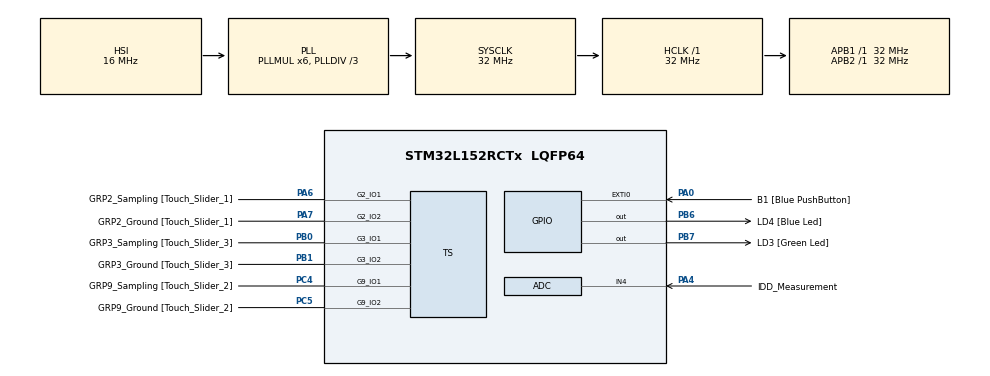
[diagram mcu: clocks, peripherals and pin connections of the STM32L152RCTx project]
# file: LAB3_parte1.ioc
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ADC.Channel=ADC_CHANNEL_4
ADC.Channel-0\#ChannelRegularConversion=ADC_CHANNEL_4
ADC.Channel-IN4=ADC_CHANNEL_4
ADC.ExternalTrigConv=ADC_EXTERNALTRIGCONV_T2_CC3
ADC.ExternalTrigConv-0\#ChannelRegularConversion=ADC_SOFTWARE_START
ADC.ExternalTrigConvEdge=ADC_EXTERNALTRIGCONVEDGE_RISING
ADC.Rank-0\#ChannelRegularConversion=1
ADC.SamplingTime-0\#ChannelRegularConversion=ADC_SAMPLETIME_4CYCLES
Mcu.Family=STM32L1
Mcu.Name=STM32L152RCTx
Mcu.Package=LQFP64
NVIC.PriorityGroup=NVIC_PRIORITYGROUP_0
PA0-WKUP1.GPIO_Label=B1 [Blue PushButton]
PA0-WKUP1.GPIO_ModeDefaultEXTI=GPIO_MODE_EVT_RISING
PA0-WKUP1.GPIO_PuPd=GPIO_NOPULL
PA0-WKUP1.Signal=GPXTI0
PA1.GPIO_Label=SEG0 [GH08172T_SEG0]
PA1.GPIO_Mode=GPIO_MODE_AF_PP
PA1.GPIO_PuPd=GPIO_NOPULL
PA1.GPIO_Speed=GPIO_SPEED_FREQ_LOW
PA1.Signal=LCD_SEG0
PA10.GPIO_Label=COM2 [GH08172T_COM2]
PA10.GPIO_Mode=GPIO_MODE_AF_PP
PA10.GPIO_PuPd=GPIO_NOPULL
PA10.GPIO_Speed=GPIO_SPEED_FREQ_LOW
PA10.Signal=LCD_COM2
PA13.GPIO_Label=SWDIO
PA13.Mode=Serial_Wire
PA13.Signal=SYS_JTMS-SWDIO
PA14.GPIO_Label=SWCLK
PA14.Mode=Serial_Wire
PA14.Signal=SYS_JTCK-SWCLK
PA15.GPIO_Label=SEG12 [GH08172T_SEG12]
PA15.GPIO_Mode=GPIO_MODE_AF_PP
PA15.GPIO_PuPd=GPIO_NOPULL
PA15.GPIO_Speed=GPIO_SPEED_FREQ_LOW
PA15.Signal=LCD_SEG17
PA2.GPIO_Label=SEG1 [GH08172T_SEG1]
PA2.GPIO_Mode=GPIO_MODE_AF_PP
PA2.GPIO_PuPd=GPIO_NOPULL
PA2.GPIO_Speed=GPIO_SPEED_FREQ_LOW
PA2.Signal=LCD_SEG1
PA3.GPIO_Label=SEG2 [GH08172T_SEG2]
PA3.GPIO_Mode=GPIO_MODE_AF_PP
PA3.GPIO_PuPd=GPIO_NOPULL
PA3.GPIO_Speed=GPIO_SPEED_FREQ_LOW
PA3.Signal=LCD_SEG2
PA4.GPIO_Label=IDD_Measurement
PA4.GPIO_Mode=GPIO_MODE_ANALOG
PA4.GPIO_PuPd=GPIO_NOPULL
PA4.Mode=IN4
PA4.Signal=ADC_IN4
PA6.GPIO_Label=GRP2_Sampling [Touch_Slider_1]
PA6.Mode=G2_IO1-Sampling
PA6.Signal=TS_G2_IO1
PA7.GPIO_Label=GRP2_Ground [Touch_Slider_1]
PA7.Mode=G2_IO2-Channel
PA7.Signal=TS_G2_IO2
PA8.GPIO_Label=COM0 [GH08172T_COM0]
PA8.GPIO_Mode=GPIO_MODE_AF_PP
PA8.GPIO_PuPd=GPIO_NOPULL
PA8.GPIO_Speed=GPIO_SPEED_FREQ_LOW
PA8.Signal=LCD_COM0
PA9.GPIO_Label=COM1 [GH08172T_COM1]
PA9.GPIO_Mode=GPIO_MODE_AF_PP
PA9.GPIO_PuPd=GPIO_NOPULL
PA9.GPIO_Speed=GPIO_SPEED_FREQ_LOW
PA9.Signal=LCD_COM1
PB0.GPIO_Label=GRP3_Sampling [Touch_Slider_3]
PB0.Mode=G3_IO1-Sampling
PB0.Signal=TS_G3_IO1
PB1.GPIO_Label=GRP3_Ground [Touch_Slider_3]
PB1.Mode=G3_IO2-Channel
PB1.Signal=TS_G3_IO2
PB10.GPIO_Label=SEG6 [GH08172T_SEG6]
PB10.GPIO_Mode=GPIO_MODE_AF_PP
PB10.GPIO_PuPd=GPIO_NOPULL
PB10.GPIO_Speed=GPIO_SPEED_FREQ_LOW
PB10.Signal=LCD_SEG10
PB11.GPIO_Label=SEG7 [GH08172T_SEG7]
PB11.GPIO_Mode=GPIO_MODE_AF_PP
PB11.GPIO_PuPd=GPIO_NOPULL
PB11.GPIO_Speed=GPIO_SPEED_FREQ_LOW
PB11.Signal=LCD_SEG11
PB12.GPIO_Label=SEG8 [GH08172T_SEG8]
PB12.GPIO_Mode=GPIO_MODE_AF_PP
PB12.GPIO_PuPd=GPIO_NOPULL
PB12.GPIO_Speed=GPIO_SPEED_FREQ_LOW
PB12.Signal=LCD_SEG12
PB13.GPIO_Label=SEG9 [GH08172T_SEG9]
PB13.GPIO_Mode=GPIO_MODE_AF_PP
PB13.GPIO_PuPd=GPIO_NOPULL
PB13.GPIO_Speed=GPIO_SPEED_FREQ_LOW
PB13.Signal=LCD_SEG13
PB14.GPIO_Label=SEG10 [GH08172T_SEG10]
PB14.GPIO_Mode=GPIO_MODE_AF_PP
PB14.GPIO_PuPd=GPIO_NOPULL
PB14.GPIO_Speed=GPIO_SPEED_FREQ_LOW
PB14.Signal=LCD_SEG14
PB15.GPIO_Label=SEG11 [GH08172T_SEG11]
PB15.GPIO_Mode=GPIO_MODE_AF_PP
PB15.GPIO_PuPd=GPIO_NOPULL
PB15.GPIO_Speed=GPIO_SPEED_FREQ_LOW
PB15.Signal=LCD_SEG15
PB3.GPIO_Label=SEG3 [GH08172T_SEG3]
PB3.GPIO_Mode=GPIO_MODE_AF_PP
PB3.GPIO_PuPd=GPIO_NOPULL
PB3.GPIO_Speed=GPIO_SPEED_FREQ_LOW
PB3.Signal=LCD_SEG7
PB4.GPIO_Label=SEG4 [GH08172T_SEG4]
PB4.GPIO_Mode=GPIO_MODE_AF_PP
PB4.GPIO_PuPd=GPIO_NOPULL
PB4.GPIO_Speed=GPIO_SPEED_FREQ_LOW
PB4.Signal=LCD_SEG8
PB5.GPIO_Label=SEG5 [GH08172T_SEG5]
PB5.GPIO_Mode=GPIO_MODE_AF_PP
PB5.GPIO_PuPd=GPIO_NOPULL
PB5.GPIO_Speed=GPIO_SPEED_FREQ_LOW
PB5.Signal=LCD_SEG9
PB6.GPIO_Label=LD4 [Blue Led]
PB6.GPIO_ModeDefaultOutputPP=GPIO_MODE_OUTPUT_PP
PB6.GPIO_PuPd=GPIO_NOPULL
PB6.GPIO_Speed=GPIO_SPEED_FREQ_LOW
PB6.Signal=GPIO_Output
PB7.GPIO_Label=LD3 [Green Led]
PB7.GPIO_ModeDefaultOutputPP=GPIO_MODE_OUTPUT_PP
PB7.GPIO_PuPd=GPIO_NOPULL
PB7.GPIO_Speed=GPIO_SPEED_FREQ_LOW
PB7.Signal=GPIO_Output
PB8.GPIO_Label=SEG13 [GH08172T_SEG13]
PB8.GPIO_Mode=GPIO_MODE_AF_PP
PB8.GPIO_PuPd=GPIO_NOPULL
PB8.GPIO_Speed=GPIO_SPEED_FREQ_LOW
PB8.Signal=LCD_SEG16
PB9.GPIO_Label=COM3 [GH08172T_COM3]
PB9.GPIO_Mode=GPIO_MODE_AF_PP
PB9.GPIO_PuPd=GPIO_NOPULL
PB9.GPIO_Speed=GPIO_SPEED_FREQ_LOW
PB9.Signal=LCD_COM3
PC0.GPIO_Label=SEG14 [GH08172T_SEG14]
PC0.GPIO_Mode=GPIO_MODE_AF_PP
PC0.GPIO_PuPd=GPIO_NOPULL
PC0.GPIO_Speed=GPIO_SPEED_FREQ_LOW
PC0.Signal=LCD_SEG18
PC1.GPIO_Label=SEG15 [GH08172T_SEG15]
PC1.GPIO_Mode=GPIO_MODE_AF_PP
PC1.GPIO_PuPd=GPIO_NOPULL
PC1.GPIO_Speed=GPIO_SPEED_FREQ_LOW
PC1.Signal=LCD_SEG19
PC10.GPIO_Label=SEG22 [GH08172T_SEG22]
PC10.GPIO_Mode=GPIO_MODE_AF_PP
PC10.GPIO_PuPd=GPIO_NOPULL
PC10.GPIO_Speed=GPIO_SPEED_FREQ_LOW
PC10.Signal=LCD_SEG28
PC11.GPIO_Label=SEG23 [GH08172T_SEG23]
PC11.GPIO_Mode=GPIO_MODE_AF_PP
PC11.GPIO_PuPd=GPIO_NOPULL
PC11.GPIO_Speed=GPIO_SPEED_FREQ_LOW
PC11.Signal=LCD_SEG29
PC14-OSC32_IN.GPIO_Label=PC14-OSC32_IN
PC14-OSC32_IN.Mode=LSE-External-Oscillator
PC14-OSC32_IN.Signal=RCC_OSC32_IN
PC15-OSC32_OUT.GPIO_Label=PC15-OSC32_OUT
PC15-OSC32_OUT.Mode=LSE-External-Oscillator
PC15-OSC32_OUT.Signal=RCC_OSC32_OUT
PC2.GPIO_Label=SEG16 [GH08172T_SEG16]
PC2.GPIO_Mode=GPIO_MODE_AF_PP
PC2.GPIO_PuPd=GPIO_NOPULL
PC2.GPIO_Speed=GPIO_SPEED_FREQ_LOW
PC2.Signal=LCD_SEG20
PC3.GPIO_Label=SEG17 [GH08172T_SEG17]
PC3.GPIO_Mode=GPIO_MODE_AF_PP
PC3.GPIO_PuPd=GPIO_NOPULL
PC3.GPIO_Speed=GPIO_SPEED_FREQ_LOW
PC3.Signal=LCD_SEG21
PC4.GPIO_Label=GRP9_Sampling [Touch_Slider_2]
PC4.Mode=G9_IO1-Sampling
PC4.Signal=TS_G9_IO1
PC5.GPIO_Label=GRP9_Ground [Touch_Slider_2]
PC5.Mode=G9_IO2-Channel
PC5.Signal=TS_G9_IO2
PC6.Signal=S_TIM3_CH1
PC7.Signal=S_TIM3_CH2
PC8.Signal=S_TIM3_CH3
PC9.Signal=S_TIM3_CH4
ProjectManager.HeapSize=0x200
ProjectManager.StackSize=0x400
ProjectManager.TargetToolchain=STM32CubeIDE
RCC.48MHZClocksFreq_Value=48000000
RCC.AHBFreq_Value=32000000
RCC.APB1Freq_Value=32000000
RCC.APB1TimFreq_Value=32000000
RCC.APB2Freq_Value=32000000
RCC.APB2TimFreq_Value=32000000
RCC.HCLKFreq_Value=32000000
RCC.HSE_VALUE=8000000
RCC.HSI_VALUE=16000000
RCC.MSI_VALUE=2097000
RCC.PLLDIV=RCC_PLL_DIV3
RCC.PLLMUL=RCC_PLL_MUL6
RCC.RTCClockSelectionVirtual=RCC_RTCCLKSOURCE_LSE
RCC.SYSCLKFreq_VALUE=32000000
RCC.SYSCLKSource=RCC_SYSCLKSOURCE_PLLCLK
RCC.USBOutput=48000000
RCC.VCOOutputFreq_Value=96000000
SH.S_TIM3_CH1.0=TIM3_CH1
SH.S_TIM3_CH2.0=TIM3_CH2
SH.S_TIM3_CH3.0=TIM3_CH3
SH.S_TIM3_CH4.0=TIM3_CH4
VP_TIM3_VS_ClockSourceINT.Mode=Internal
VP_TIM4_VS_ClockSourceINT.Mode=Internal
board=STM32L152C-DISCO

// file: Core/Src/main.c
/* USER CODE BEGIN Header */
/**
  ******************************************************************************
  * @file           : main.c
  * @brief          : Main program body
  ******************************************************************************
  * @attention
  *
  * Copyright (c) 2024 STMicroelectronics.
  * All rights reserved.
  *
  * This software is licensed under terms that can be found in the LICENSE file
  * in the root directory of this software component.
  * If no LICENSE file comes with this software, it is provided AS-IS.
  *
  ******************************************************************************
  */
/* USER CODE END Header */
#include "main.h"

ADC_HandleTypeDef hadc;

TIM_HandleTypeDef htim3;
TIM_HandleTypeDef htim4;

/* USER CODE BEGIN PV */
short DC = 20;
short DCmax = 90;
short DCmax_prev;
unsigned short value;
//short decremento = 10;
/* USER CODE END PV */

void SystemClock_Config(void);
static void MX_GPIO_Init(void);
static void MX_ADC_Init(void);
static void MX_TS_Init(void);
static void MX_TIM4_Init(void);
static void MX_TIM3_Init(void);

/* USER CODE BEGIN 0 */
void espera(int tiempo) {
    int i;
    for (i=0; i<tiempo; i++);
}
 //Function espera could be useful to avoid button rebounds
void stop(){
  GPIOC->BSRR = (1<<6)<<16;
  GPIOC->BSRR = (1<<7)<<16;

  GPIOC->BSRR = (1<<8)<<16;
  GPIOC->BSRR = (1<<9)<<16;
}

void forward(){
	GPIOC->BSRR = (1<<6);
	TIM3->CCR2 = DCmax-DC; // Save new DC in CCR3

	TIM3->CCR3 = DCmax-DC; // Save new DC in CCR3
	GPIOC->BSRR = (1<<9);
}

void backwards(){
	GPIOC->BSRR = (1<<6)<<16;
	//GPIOC->BSRR = (1<<7);
	TIM3->CCR2 = DC; // Save new DC in CCR3

	// GPIOC->BSRR = (1<<8);
	GPIOC->BSRR = (1<<9)<<16;
	TIM3->CCR3 = DC; // Save new DC in CCR3
}

/* USER CODE END 0 */

int main(void)
{

  /* MCU Configuration--------------------------------------------------------*/

  /* Reset of all peripherals, Initializes the Flash interface and the Systick. */
  HAL_Init();

  /* Configure the system clock */
  SystemClock_Config();

  /* Initialize all configured peripherals */
  MX_GPIO_Init();
  MX_ADC_Init();
  MX_TS_Init();
  MX_TIM4_Init();
  MX_TIM3_Init();
  /* USER CODE BEGIN 2 */

  // WHEELS WITH PWM
  // Pin 6 output mode 01
  GPIOC->MODER|=0x00000001 << (2*6);
  GPIOC->MODER&=~(0x00000001 << (2*6+1));

  // Wheels as a TIM3 output 10
  GPIOC->MODER|=0x00000001 << (2*7+1); // PC7 as alternate mode for TIM3
  GPIOC->MODER&=~(0x00000001 << (2*7));
  GPIOC->AFR[0]|=(0x02 << (7*4)); // AFR[0] to associate PC0-PC7 to AF2 (TIM3). WE ASSOCIATE PIN 7 TO TIMER 3

  GPIOC->MODER|=0x00000001 << (2*8+1); // PC8 as alterante mode for TIM3
  GPIOC->MODER&=~(0x00000001 << (2*8));
  GPIOC->AFR[1]|=(0x02 << (4*2)); // AFR[1] to associate PC8-PC15 to AF2 (TIM3). WE ASSOCIATE PIN 8 TO TIMER 3. TODO: esto que hace

  // Pin 9 output mode 01
  GPIOC->MODER|=0x00000001 << (2*9);
  GPIOC->MODER&=~(0x00000001 << (2*9+1));
  //End of wheels with PWM

  /**********************************
  //LAB 3
  **********************************/
  // PA4 (POTENTIOMETER) INITIALIZATION
  GPIOA -> MODER |= (1<<10);//ANALOG FUNCTIONALITY //GPIO_A5
  GPIOA -> MODER |= (1<<11);

  ADC1->CR2 &= ~(0x00000001); //ADON = 0 (ADC powered off)
  ADC1 -> CR1 = 0x00000000;
  ADC1->CR2 = 0x00000412; // EOCS = 1 (EOC is activated after each conv.)
  ADC1 -> SQR1 = 0x00000000;//I JUST WANT ONE CONVERSION
  ADC1 -> SQR5 = 0x00000005;  // WE ARE GOING TO USE CHANNEL 4
  ADC1 -> CR2 |= 0x00000001;//POWER ON

  // Start conversion
   while ((ADC1->SR&0x0040)==0); // While ADONS = 0, i.e., ADC is not ready to convert, I wait
   ADC1->CR2 |= 0x40000000; // When ADONS = 1, I start conversion (SWSTART = 1)
   // Wait till conversion is finished
 /*  while ((ADC1->SR&0x0002)==0); // If EOC = 0, i.e., the conversion is not finished, I wait
   value = ADC1->DR; // When EOC = 1, I take the result and store it in variable called value
*/
/*   //depending on the value of the max velocity, we configure the max value od the dc
   if(value<=4095 && value>3071){
	  DCmax=100;
   } else if(value<=3071 && value>2047){
	  DCmax=80;
   } else if(value<=2047 && value>1023){
	  DCmax=60;
   } else {
	  DCmax=50;
   }
*/
  //PWM4 INITIALIZATION
  TIM3 -> CR1 = 0x0080; //ACTIVATE PWM MODE
  TIM3 -> CR2 = 0x0000;
  TIM3 -> SMCR = 0x0000;
  TIM3 -> PSC = 31999;
  TIM3 -> CNT = 0;
  TIM3 -> ARR = 100;// MAXIMUM VALUE OF THE COUNTER (cuando llega vuelve a 0s)
  TIM3 -> CCR3 = DC;//AT FIRST WE WILL SELECT THE FULL VELOCITY
  //TIM3 -> CCR4 = DC;//AFTERWARDS WE WILL CHANGE IT USING THE ADC
  //TIM3 -> CCR1 = DC;
  TIM3 -> CCR2 = DC;
  TIM3 -> DIER = 0x0000;//no interrupts

  TIM3 -> CCMR2 = 0x0068;//IN BOTH CHANNELS GOES THE SAME CONFIGURATION TODO: cambiar config
  TIM3 -> CCMR1 = 0x6800;//IN BOTH CHANNELS GOES THE SAME CONFIGURATION
  //Starting the cycle at 1
  TIM3 -> CCER = 0x0110;//0x1100;(mal)// ALWAYS IN PWM AND HARDWARE OUTPUT ACTIVE
  TIM3 -> CR1 |= 0x0001;
  TIM3 -> EGR |= 0x0001;
  TIM3 -> SR = 0;

  // PA0 (USER button) as input
  GPIOA->MODER &= ~(1 << (0*2 +1)); // MODER = 00 (input) for PA0
  GPIOA->MODER &= ~(1 << (0*2));

  /* USER CODE END 2 */

  /* Infinite loop */
  /* USER CODE BEGIN WHILE */
  while (1)
  {

	   value = ADC1->DR; // When EOC = 1, I take the result and store it in variable called value

	   //depending on the value of the max velocity, we configure the max value od the dc
	   if(value<=4095 && value>3071){
		   DCmax_prev= DCmax;
		   DCmax=100;
	   } else if(value<=3071 && value>2047){
		   DCmax_prev= DCmax;
		   DCmax=80;
	   } else if(value<=2047 && value>1023){
		   DCmax_prev= DCmax;
		   DCmax=60;
		  //DC = DCmax/2;
	   } else {
		   DCmax_prev= DCmax;
		   DCmax=50;
		   //  DC = DCmax/2;
	   }

	   if(DCmax!=DCmax_prev){
		   DC = DCmax/2;
	   }

	  if ((GPIOA->IDR & 0x00000001) != 0) { // If USER button is pressed
	      while ((GPIOA->IDR & 0x00000001) != 0) // Wait to avoid button rebounds
	          espera(70000);

	      DC += (DCmax/2)-1; // Modify DC each time button is pressed
	      if (DC >= DCmax) DC = DCmax/2; // if DC>10, DC = 1 again
	      //TIM3->CCR4 = DC; // Save new DC in CCR4
	      TIM3->CCR3 = DC; // Save new DC in CCR3
	      TIM3->CCR2 = DC; // Save new DC in CCR2
	      //TIM3->CCR1 = DC; // Save new DC in CCR1
	  }

   forward();
   backwards();

    /* USER CODE END WHILE */

  }
}

void SystemClock_Config(void)
{
  RCC_OscInitTypeDef RCC_OscInitStruct = {0};
  RCC_ClkInitTypeDef RCC_ClkInitStruct = {0};

  /** Configure the main internal regulator output voltage
  */
  __HAL_PWR_VOLTAGESCALING_CONFIG(PWR_REGULATOR_VOLTAGE_SCALE1);

  /** Initializes the RCC Oscillators according to the specified parameters
  * in the RCC_OscInitTypeDef structure.
  */
  RCC_OscInitStruct.OscillatorType = RCC_OSCILLATORTYPE_HSI;
  RCC_OscInitStruct.HSIState = RCC_HSI_ON;
  RCC_OscInitStruct.HSICalibrationValue = RCC_HSICALIBRATION_DEFAULT;
  RCC_OscInitStruct.PLL.PLLState = RCC_PLL_ON;
  RCC_OscInitStruct.PLL.PLLSource = RCC_PLLSOURCE_HSI;
  RCC_OscInitStruct.PLL.PLLMUL = RCC_PLL_MUL6;
  RCC_OscInitStruct.PLL.PLLDIV = RCC_PLL_DIV3;
  if (HAL_RCC_OscConfig(&RCC_OscInitStruct) != HAL_OK)
  {
    Error_Handler();
  }

  /** Initializes the CPU, AHB and APB buses clocks
  */
  RCC_ClkInitStruct.ClockType = RCC_CLOCKTYPE_HCLK|RCC_CLOCKTYPE_SYSCLK
                              |RCC_CLOCKTYPE_PCLK1|RCC_CLOCKTYPE_PCLK2;
  RCC_ClkInitStruct.SYSCLKSource = RCC_SYSCLKSOURCE_PLLCLK;
  RCC_ClkInitStruct.AHBCLKDivider = RCC_SYSCLK_DIV1;
  RCC_ClkInitStruct.APB1CLKDivider = RCC_HCLK_DIV1;
  RCC_ClkInitStruct.APB2CLKDivider = RCC_HCLK_DIV1;

  if (HAL_RCC_ClockConfig(&RCC_ClkInitStruct, FLASH_LATENCY_1) != HAL_OK)
  {
    Error_Handler();
  }
}

static void MX_ADC_Init(void)
{

  ADC_ChannelConfTypeDef sConfig = {0};

  /** Configure the global features of the ADC (Clock, Resolution, Data Alignment and number of conversion)
  */
  hadc.Instance = ADC1;
  hadc.Init.ClockPrescaler = ADC_CLOCK_ASYNC_DIV1;
  hadc.Init.Resolution = ADC_RESOLUTION_12B;
  hadc.Init.DataAlign = ADC_DATAALIGN_RIGHT;
  hadc.Init.ScanConvMode = ADC_SCAN_DISABLE;
  hadc.Init.EOCSelection = ADC_EOC_SEQ_CONV;
  hadc.Init.LowPowerAutoWait = ADC_AUTOWAIT_DISABLE;
  hadc.Init.LowPowerAutoPowerOff = ADC_AUTOPOWEROFF_DISABLE;
  hadc.Init.ChannelsBank = ADC_CHANNELS_BANK_A;
  hadc.Init.ContinuousConvMode = DISABLE;
  hadc.Init.NbrOfConversion = 1;
  hadc.Init.DiscontinuousConvMode = DISABLE;
  hadc.Init.ExternalTrigConv = ADC_EXTERNALTRIGCONV_T2_CC3;
  hadc.Init.ExternalTrigConvEdge = ADC_EXTERNALTRIGCONVEDGE_RISING;
  hadc.Init.DMAContinuousRequests = DISABLE;
  if (HAL_ADC_Init(&hadc) != HAL_OK)
  {
    Error_Handler();
  }

  /** Configure for the selected ADC regular channel its corresponding rank in the sequencer and its sample time.
  */
  sConfig.Channel = ADC_CHANNEL_4;
  sConfig.Rank = ADC_REGULAR_RANK_1;
  sConfig.SamplingTime = ADC_SAMPLETIME_4CYCLES;
  if (HAL_ADC_ConfigChannel(&hadc, &sConfig) != HAL_OK)
  {
    Error_Handler();
  }

}

static void MX_TIM3_Init(void)
{

  TIM_ClockConfigTypeDef sClockSourceConfig = {0};
  TIM_MasterConfigTypeDef sMasterConfig = {0};

  htim3.Instance = TIM3;
  htim3.Init.Prescaler = 0;
  htim3.Init.CounterMode = TIM_COUNTERMODE_UP;
  htim3.Init.Period = 65535;
  htim3.Init.ClockDivision = TIM_CLOCKDIVISION_DIV1;
  htim3.Init.AutoReloadPreload = TIM_AUTORELOAD_PRELOAD_DISABLE;
  if (HAL_TIM_Base_Init(&htim3) != HAL_OK)
  {
    Error_Handler();
  }
  sClockSourceConfig.ClockSource = TIM_CLOCKSOURCE_INTERNAL;
  if (HAL_TIM_ConfigClockSource(&htim3, &sClockSourceConfig) != HAL_OK)
  {
    Error_Handler();
  }
  sMasterConfig.MasterOutputTrigger = TIM_TRGO_RESET;
  sMasterConfig.MasterSlaveMode = TIM_MASTERSLAVEMODE_DISABLE;
  if (HAL_TIMEx_MasterConfigSynchronization(&htim3, &sMasterConfig) != HAL_OK)
  {
    Error_Handler();
  }

}

static void MX_TIM4_Init(void)
{

  TIM_ClockConfigTypeDef sClockSourceConfig = {0};
  TIM_MasterConfigTypeDef sMasterConfig = {0};

  htim4.Instance = TIM4;
  htim4.Init.Prescaler = 0;
  htim4.Init.CounterMode = TIM_COUNTERMODE_UP;
  htim4.Init.Period = 65535;
  htim4.Init.ClockDivision = TIM_CLOCKDIVISION_DIV1;
  htim4.Init.AutoReloadPreload = TIM_AUTORELOAD_PRELOAD_DISABLE;
  if (HAL_TIM_Base_Init(&htim4) != HAL_OK)
  {
    Error_Handler();
  }
  sClockSourceConfig.ClockSource = TIM_CLOCKSOURCE_INTERNAL;
  if (HAL_TIM_ConfigClockSource(&htim4, &sClockSourceConfig) != HAL_OK)
  {
    Error_Handler();
  }
  sMasterConfig.MasterOutputTrigger = TIM_TRGO_RESET;
  sMasterConfig.MasterSlaveMode = TIM_MASTERSLAVEMODE_DISABLE;
  if (HAL_TIMEx_MasterConfigSynchronization(&htim4, &sMasterConfig) != HAL_OK)
  {
    Error_Handler();
  }

}

static void MX_TS_Init(void)
{

}

static void MX_GPIO_Init(void)
{
  GPIO_InitTypeDef GPIO_InitStruct = {0};

  /* GPIO Ports Clock Enable */
  __HAL_RCC_GPIOC_CLK_ENABLE();
  __HAL_RCC_GPIOA_CLK_ENABLE();
  __HAL_RCC_GPIOB_CLK_ENABLE();

  /*Configure GPIO pin Output Level */
  HAL_GPIO_WritePin(GPIOB, LD4_Pin|LD3_Pin, GPIO_PIN_RESET);

  /*Configure GPIO pins : SEG14_Pin SEG15_Pin SEG16_Pin SEG17_Pin
                           SEG22_Pin SEG23_Pin */
  GPIO_InitStruct.Pin = SEG14_Pin|SEG15_Pin|SEG16_Pin|SEG17_Pin
                          |SEG22_Pin|SEG23_Pin;
  GPIO_InitStruct.Mode = GPIO_MODE_AF_PP;
  GPIO_InitStruct.Pull = GPIO_NOPULL;
  GPIO_InitStruct.Speed = GPIO_SPEED_FREQ_LOW;
  GPIO_InitStruct.Alternate = GPIO_AF11_LCD;
  HAL_GPIO_Init(GPIOC, &GPIO_InitStruct);

  /*Configure GPIO pin : B1_Pin */
  GPIO_InitStruct.Pin = B1_Pin;
  GPIO_InitStruct.Mode = GPIO_MODE_EVT_RISING;
  GPIO_InitStruct.Pull = GPIO_NOPULL;
  HAL_GPIO_Init(B1_GPIO_Port, &GPIO_InitStruct);

  /*Configure GPIO pins : SEG0_Pin SEG1_Pin SEG2_Pin COM0_Pin
                           COM1_Pin COM2_Pin SEG12_Pin */
  GPIO_InitStruct.Pin = SEG0_Pin|SEG1_Pin|SEG2_Pin|COM0_Pin
                          |COM1_Pin|COM2_Pin|SEG12_Pin;
  GPIO_InitStruct.Mode = GPIO_MODE_AF_PP;
  GPIO_InitStruct.Pull = GPIO_NOPULL;
  GPIO_InitStruct.Speed = GPIO_SPEED_FREQ_LOW;
  GPIO_InitStruct.Alternate = GPIO_AF11_LCD;
  HAL_GPIO_Init(GPIOA, &GPIO_InitStruct);

  /*Configure GPIO pins : SEG6_Pin SEG7_Pin SEG8_Pin SEG9_Pin
                           SEG10_Pin SEG11_Pin SEG3_Pin SEG4_Pin
                           SEG5_Pin SEG13_Pin COM3_Pin */
  GPIO_InitStruct.Pin = SEG6_Pin|SEG7_Pin|SEG8_Pin|SEG9_Pin
                          |SEG10_Pin|SEG11_Pin|SEG3_Pin|SEG4_Pin
                          |SEG5_Pin|SEG13_Pin|COM3_Pin;
  GPIO_InitStruct.Mode = GPIO_MODE_AF_PP;
  GPIO_InitStruct.Pull = GPIO_NOPULL;
  GPIO_InitStruct.Speed = GPIO_SPEED_FREQ_LOW;
  GPIO_InitStruct.Alternate = GPIO_AF11_LCD;
  HAL_GPIO_Init(GPIOB, &GPIO_InitStruct);

  /*Configure GPIO pins : LD4_Pin LD3_Pin */
  GPIO_InitStruct.Pin = LD4_Pin|LD3_Pin;
  GPIO_InitStruct.Mode = GPIO_MODE_OUTPUT_PP;
  GPIO_InitStruct.Pull = GPIO_NOPULL;
  GPIO_InitStruct.Speed = GPIO_SPEED_FREQ_LOW;
  HAL_GPIO_Init(GPIOB, &GPIO_InitStruct);

}

void Error_Handler(void)
{
  __disable_irq();
  while (1)
  {
  }
}
